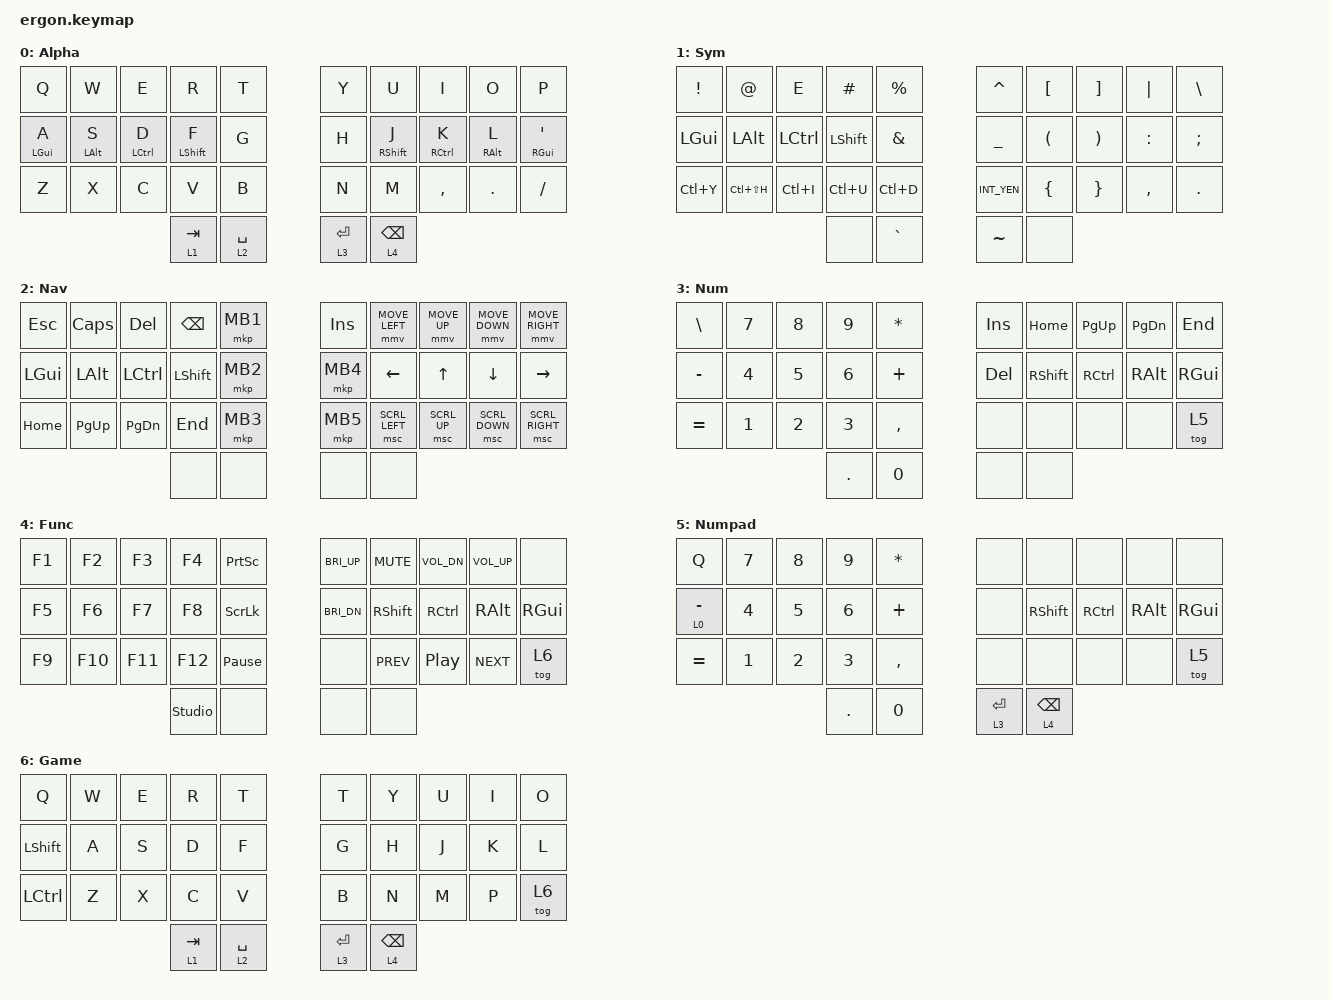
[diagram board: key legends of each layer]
#include <behaviors.dtsi>
#include <dt-bindings/zmk/keys.h>
#include <dt-bindings/zmk/bt.h>

// mouse
#define ZMK_POINTING_DEFAULT_MOVE_VAL 1200  // default: 600
#define ZMK_POINTING_DEFAULT_SCRL_VAL 20    // default: 10
#include <dt-bindings/zmk/pointing.h>


&lt {
    tapping-term-ms = <220>;
    quick-tap-ms = <200>;
};

/ {
    behaviors {
        hm: homerow_mods {
            compatible = "zmk,behavior-hold-tap";
            #binding-cells = <2>;
            flavor = "hold-preferred";
            tapping-term-ms = <220>;
            quick-tap-ms = <200>;
            bindings = <&kp>, <&kp>;
        };
    };

    keymap {
        compatible = "zmk,keymap";

        default_layer { // Layer 0
            label = "ALPHA";
            display-name = "Alpha";
            bindings = <
            // ╭───────────┬───────────┬───────────┬───────────┬───────────╮        ╭───────────┬───────────┬───────────┬───────────┬───────────╮
            // |     Q     |     W     |     E     |     R     |     T     |        |     Y     |     U     |     I     |     O     |     P     |
                   &kp Q       &kp W       &kp E       &kp R       &kp T                &kp Y       &kp U       &kp I       &kp O       &kp P
            // ├───────────┼───────────┼───────────┼───────────┼───────────┤        ├───────────┼───────────┼───────────┼───────────┼───────────┤
            // |   A(GUI)  |   S(ALT)  |   D(CTRL) |  F(SHIFT) |     G     |        |     H     |  J(SHIFT) |   K(CTRL) |   L(ALT)  |   '(GUI)  |
                &hm LGUI A  &hm LALT S  &hm LCTRL D &hm LSHFT F    &kp G                &kp H    &hm RSHFT J &hm RCTRL K &hm RALT L  &hm RGUI SQT
            // ├───────────┼───────────┼───────────┼───────────┼───────────┤        ├───────────┼───────────┼───────────┼───────────┼───────────┤
            // |     Z     |     X     |     C     |     V     |     B     |        |     N     |     M     |     ,     |     .     |     /     |
                   &kp Z       &kp X       &kp C       &kp V       &kp B                &kp N       &kp M     &kp COMMA    &kp DOT     &kp FSLH
            // ╰───────────┴───────────┴─┬─────────┴─────┬─────┴───────────┤        ├───────────┴─────┬── ──┴─────────┬─┴───────────┴───────────╯
            //                           |    TAB(L1)    |    SPACE(L2)    |        |    ENTER(L3)    | BACKSPACE(L4) |
                                             &lt 1 TAB        &lt 2 SPACE               &lt 3 ENTER      &lt 4 BSPC
            //                           ╰───────────────┴─────────────────╯        ╰─────────────────┴───────────────╯
            >;
        };

        symbol { // Layer 1
            label = "SYM";
            display-name = "Sym";
            bindings = <
            // ╭───────────┬───────────┬───────────┬───────────┬───────────╮        ╭───────────┬───────────┬───────────┬───────────┬───────────╮
            // |     !     |     @     |     #     |     $     |     %     |        |     ^     |     [     |     ]     |     |     |     \     |
                 &kp EXCL     &kp AT       &kp E     &kp HASH     &kp PRCNT           &kp CARET    &kp LBKT    &kp RBKT    &kp PIPE    &kp BSLH
            // ├───────────┼───────────┼───────────┼───────────┼───────────┤        ├───────────┼───────────┼───────────┼───────────┼───────────┤
            // |    GUI    |     ALT   |    CTRL   |   SHIFT   |     &     |        |     _     |     (     |     )     |     :     |     ;     |
                 &kp LGUI    &kp LALT    &kp LCTRL   &kp LSHFT    &kp AMPS            &kp UNDER    &kp LPAR    &kp RPAR    &kp COLON   &kp SEMI 
            // ├───────────┼───────────┼───────────┼───────────┼───────────┤        ├───────────┼───────────┼───────────┼───────────┼───────────┤
            // |    REDO   | HIGHLIGHT |   ITALIC  | UNDERLINE | DUPLICATE |        |     ¥     |     {     |     }     |     ,     |     .     |
                 &kp LC(Y) &kp LC(LS(H)) &kp LC(I)   &kp LC(U)    &kp LC(D)          &kp INT_YEN   &kp LBRC    &kp RBRC    &kp COMMA   &kp DOT
            // ╰───────────┴───────────┴─┬─────────┴─────┬─────┴───────────┤        ├───────────┴─────┬── ──┴─────────┬─┴───────────┴───────────╯
            //                           |  ((PRESSING)) |        `        |        |        ~        |               |
                                                &none         &kp GRAVE                  &kp TILDE          &none
            //                           ╰───────────────┴─────────────────╯        ╰─────────────────┴───────────────╯
            >;
        };

	    navigation { // Layer 2
	        label = "NAV";
	        display-name = "Nav";
            bindings = <
            // ╭───────────┬───────────┬───────────┬───────────┬───────────╮        ╭───────────┬───────────┬───────────┬───────────┬───────────╮
            // |    ESC    | CAPS LOCK |   DELETE  | BACKSPACE | CLICK1(L) |        |   INSERT  |  MOUSE ←  |  MOUSE ↑  |  MOUSE ↓  |  MOUSE →  |
                  &kp ESC    &kp CAPS     &kp DEL     &kp BSPC   &mkp MB1          &kp INS &mmv MOVE_LEFT &mmv MOVE_UP &mmv MOVE_DOWN &mmv MOVE_RIGHT
            // ├───────────┼───────────┼───────────┼───────────┼───────────┤        ├───────────┼───────────┼───────────┼───────────┼───────────┤
            // |    GUI    |     ALT   |    CTRL   |   SHIFT   | CLICK2(R) |        | CLICK4(B) |     ←     |     ↑     |     ↓     |     →     |
                 &kp LGUI    &kp LALT    &kp LCTRL   &kp LSHFT   &mkp MB2              &mkp MB4    &kp LEFT     &kp UP     &kp DOWN   &kp RIGHT
            // ├───────────┼───────────┼───────────┼───────────┼───────────┤        ├───────────┼───────────┼───────────┼───────────┼───────────┤
            // |    HOME   |  PAGE UP  | PAGE DOWN |    END    | CLICK3(M) |        | CLICK5(F) |  SCROLL ← |  SCROLL ↑ |  SCROLL ↓ |  SCROLL → |
                 &kp HOME    &kp PG_UP   &kp PG_DN    &kp END    &mkp MB3         &mkp MB5 &msc SCRL_LEFT &msc SCRL_UP &msc SCRL_DOWN &msc SCRL_RIGHT
            // ╰───────────┴───────────┴─┬─────────┴─────┬─────┴───────────┤        ├───────────┴─────┬── ──┴─────────┬─┴───────────┴───────────╯
            //                           |               |   ((PRESSING))  |        |                 |               |
                                                &none           &none                      &none            &none    
            //                           ╰───────────────┴─────────────────╯        ╰─────────────────┴───────────────╯
            >;
        };

	    number { // Layer 3
	        label = "NUM";
	        display-name = "Num";
            bindings = <
            // ╭───────────┬───────────┬───────────┬───────────┬───────────╮        ╭───────────┬───────────┬───────────┬───────────┬───────────╮
            // |     /     |     7     |     8     |     9     |     *     |        |   INSERT  |    HOME   |  PAGE UP  | PAGE DOWN |    END    |
                  &kp BSLH     &kp N7      &kp N8      &kp N9    &kp STAR              &kp INS     &kp HOME   &kp PG_UP   &kp PG_DN    &kp END
            // ├───────────┼───────────┼───────────┼───────────┼───────────┤        ├───────────┼───────────┼───────────┼───────────┼───────────┤
            // |     -     |     4     |     5     |     6     |     +     |        |   DELETE  |   SHIFT   |    CTRL   |    ALT    |    GUI    |
                 &kp MINUS     &kp N4      &kp N5      &kp N6    &kp PLUS              &kp DEL    &kp RSHFT   &kp RCTRL   &kp RALT    &kp RGUI
            // ├───────────┼───────────┼───────────┼───────────┼───────────┤        ├───────────┼───────────┼───────────┼───────────┼───────────┤
            // |     =     |     1     |     2     |     3     |     ,     |        |           |           |           |           |   NUMPAD  |
                 &kp EQUAL     &kp N1      &kp N2      &kp N3    &kp COMMA               &none       &none       &none       &none      &tog 5
            // ╰───────────┴───────────┴─┬─────────┴─────┬─────┴───────────┤        ├───────────┴─────┬── ──┴─────────┬─┴───────────┴───────────╯
            //                           |       .       |        0        |        |   ((PRESSING)) |                |
                                               &kp DOT           &kp N0                     &none           &none    
            //                           ╰───────────────┴─────────────────╯        ╰─────────────────┴───────────────╯
            >;
        };

        function { // Layer 4
            label = "FUNC";
            display-name = "Func";
            bindings = <
            // ╭───────────┬───────────┬───────────┬───────────┬───────────╮        ╭───────────┬───────────┬───────────┬───────────┬───────────╮
            // |     F1    |     F2    |     F3    |     F4    |PRINTSCREEN|        | BRIGHT UP |    MUTE   | VOL DOWN  |  VOL UP   |           |
                   &kp F1      &kp F2      &kp F3      &kp F4    &kp PSCRN          &kp C_BRI_UP  &kp C_MUTE &kp C_VOL_DN &kp C_VOL_UP    &none
            // ├───────────┼───────────┼───────────┼───────────┼───────────┤        ├───────────┼───────────┼───────────┼───────────┼───────────┤
            // |     F5    |     F6    |     F7    |     F8    |SCROLL LOCK|        |BRIGHT DOWN|   SHIFT   |    CTRL   |    ALT    |    GUI    |
                   &kp F5      &kp F6      &kp F7      &kp F8    &kp SLCK           &kp C_BRI_DN  &kp RSHFT   &kp RCTRL   &kp RALT    &kp RGUI
            // ├───────────┼───────────┼───────────┼───────────┼───────────┤        ├───────────┼───────────┼───────────┼───────────┼───────────┤
            // |     F9    |     F10   |     F11   |     F12   |   PAUSE   |        |           |  PREVIOUS | PLAY/PAUSE|    NEXT   |   GAMING  |
                   &kp F9      &kp F10     &kp F11     &kp F12  &kp PAUSE_BREAK         &none     &kp C_PREV  &kp C_PP    &kp C_NEXT    &tog 6
            // ╰───────────┴───────────┴─┬─────────┴─────┬─────┴───────────┤        ├───────────┴─────┬── ──┴─────────┬─┴───────────┴───────────╯
            //                           |   ZMK STUDIO  |                 |        |                 | ((PRESSING))  |
                                           &studio_unlock       &none                      &none            &none    
            //                           ╰───────────────┴─────────────────╯        ╰─────────────────┴───────────────╯
            >;
        };

        numpad { // Layer 5
            label = "NUMPAD";
            display-name = "Numpad";
            bindings = <
            // ╭───────────┬───────────┬───────────┬───────────┬───────────╮        ╭───────────┬───────────┬───────────┬───────────┬───────────╮
            // |     /     |     7     |     8     |     9     |     *     |        |           |           |           |           |           |
                   &kp Q       &kp N7      &kp N8      &kp N9    &kp STAR               &none       &none       &none       &none       &none
            // ├───────────┼───────────┼───────────┼───────────┼───────────┤        ├───────────┼───────────┼───────────┼───────────┼───────────┤
            // |     -     |     4     |     5     |     6     |     +     |        |           |   SHIFT   |    CTRL   |    ALT    |    GUI    |
                &lt 0 MINUS    &kp N4      &kp N5      &kp N6    &kp PLUS               &none     &kp RSHFT   &kp RCTRL   &kp RALT    &kp RGUI
            // ├───────────┼───────────┼───────────┼───────────┼───────────┤        ├───────────┼───────────┼───────────┼───────────┼───────────┤
            // |     =     |     1     |     2     |     3     |     ,     |        |           |           |           |           |   NUMPAD  |
                 &kp EQUAL     &kp N1      &kp N2      &kp N3    &kp COMMA              &none       &none       &none       &none       &tog 5
            // ╰───────────┴───────────┴─┬─────────┴─────┬─────┴───────────┤        ├───────────┴─────┬── ──┴─────────┬─┴───────────┴───────────╯
            //                           |     .(L1)     |       0(L2)     |        |    ENTER(L3)    | BACKSPACE(L4) |
                                               &kp DOT          &kp N0                  &lt 3 ENTER       &lt 4 BSPC
            //                           ╰───────────────┴─────────────────╯        ╰─────────────────┴───────────────╯
            >;
        };

        gaming { // Layer 6
            label = "GAME";
            display-name = "Game";
            bindings = <
            // ╭───────────┬───────────┬───────────┬───────────┬───────────╮        ╭───────────┬───────────┬───────────┬───────────┬───────────╮
            // |    TAB    |     Q     |     W     |     E     |     R     |        |     T     |     Y     |     U     |     I     |     O     |
                   &kp Q       &kp W       &kp E       &kp R       &kp T                &kp T       &kp Y       &kp U       &kp I       &kp O
            // ├───────────┼───────────┼───────────┼───────────┼───────────┤        ├───────────┼───────────┼───────────┼───────────┼───────────┤
            // |   SHIFT   |     A     |     S     |     D     |     F     |        |     G     |     H     |     J     |     K     |     L     |
                 &kp LSHFT     &kp A       &kp S       &kp D       &kp F                &kp G       &kp H       &kp J       &kp K       &kp L
            // ├───────────┼───────────┼───────────┼───────────┼───────────┤        ├───────────┼───────────┼───────────┼───────────┼───────────┤
            // |   CTRL    |     Z     |     X     |     C     |     V     |        |     B     |     N     |     M     |     P     |   GAMING  |
                 &kp LCTRL     &kp Z       &kp X       &kp C       &kp V                &kp B       &kp N       &kp M       &kp P       &tog 6
            // ╰───────────┴───────────┴─┬─────────┴─────┬─────┴───────────┤        ├───────────┴─────┬── ──┴─────────┬─┴───────────┴───────────╯
            //                           |    TAB(L1)    |    SPACE(L2)    |        |    ENTER(L3)    | BACKSPACE(L4) |
                                             &lt 1 TAB        &lt 2 SPACE               &lt 3 ENTER      &lt 4 BSPC
            //                           ╰───────────────┴─────────────────╯        ╰─────────────────┴───────────────╯
            >;
        };

    };
 };
